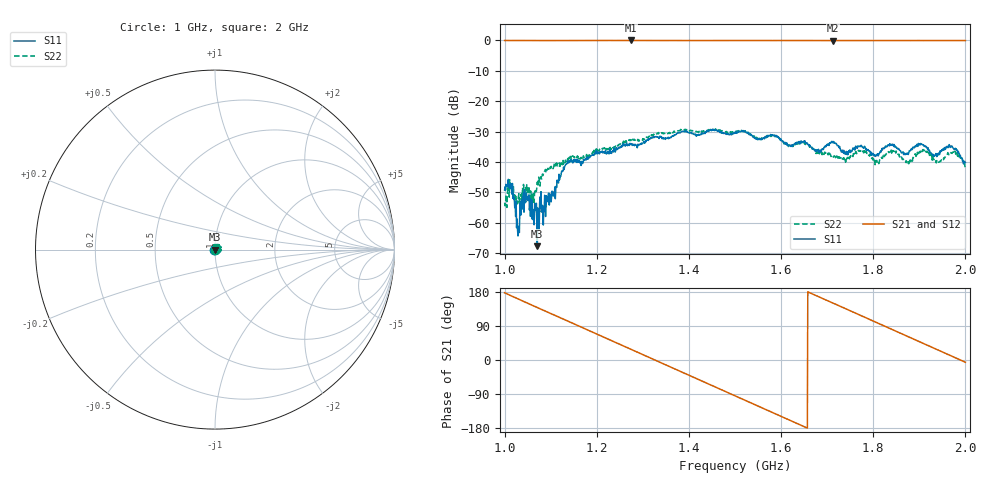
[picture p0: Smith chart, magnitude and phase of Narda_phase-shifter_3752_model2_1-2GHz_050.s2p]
#  HZ  S  DB  R  50.00
! Rohde & Schwarz Vector Network Analyzer
! Rohde-Schwarz,ZNB8-4Port,1311601044102961,2.82
! Created: UTC 1/17/2019, 2:48:23 PM
! freq[Hz]  db:S11  ang:S11  db:S21  ang:S21  db:S12  ang:S12  db:S22  ang:S22
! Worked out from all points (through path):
!   1001 points, 1 GHz to 2 GHz, reference 50 ohm
!   highest |S21| = -0.05 dB at 1.275 GHz (marker M1); lowest = -0.1 dB at 1.712 GHz (marker M2)
!   group delay of S21, straight-line fit = 1.51 ns
!   lowest |S11| = -67.7 dB at 1.071 GHz (marker M3), VSWR 1.00, Z = 50 - j0.000148 ohm
!   |S11| at or under -10 dB: start of sweep to end of sweep
!   |S22| runs from -55.0 to -29.1 dB; largest |S21 - S12| = 0.011
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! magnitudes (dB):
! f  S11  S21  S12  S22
! 1 GHz  -49.3  -0.1  -0.1  -53.4
! 1.016 GHz  -50.6  -0.1  -0.1  -49.6
! 1.028 GHz  -62.0  -0.1  -0.1  -53.8
! 1.048 GHz  -51.1  -0.1  -0.1  -47.5
! 1.059 GHz  -58.7  -0.1  -0.1  -53.1
! 1.071 GHz  -67.7  -0.1  -0.1  -46.6
! 1.136 GHz  -40.5  -0.1  -0.1  -38.9
! 1.167 GHz  -39.9  -0.1  -0.1  -39.2
! 1.275 GHz  -34.2  0.0  -0.1  -32.4
! 1.334 GHz  -31.8  -0.1  -0.1  -30.3
! 1.5 GHz  -30.5  -0.1  -0.1  -30.1
! 1.667 GHz  -35.2  -0.1  -0.1  -35.6
! 1.712 GHz  -33.6  -0.1  -0.1  -37.9
! 1.74 GHz  -37.4  -0.1  -0.1  -40.1
! 1.773 GHz  -34.6  -0.1  -0.1  -36.4
! 1.806 GHz  -38.1  -0.1  -0.1  -40.0
! 1.834 GHz  -34.5  -0.1  -0.1  -36.9
! 1.876 GHz  -37.6  -0.1  -0.1  -39.6
! 1.909 GHz  -34.3  -0.1  -0.1  -36.3
! 1.941 GHz  -37.6  -0.1  -0.1  -39.6
! 1.968 GHz  -34.8  -0.1  -0.1  -36.9
! 2 GHz  -40.2  -0.1  -0.1  -41.7
